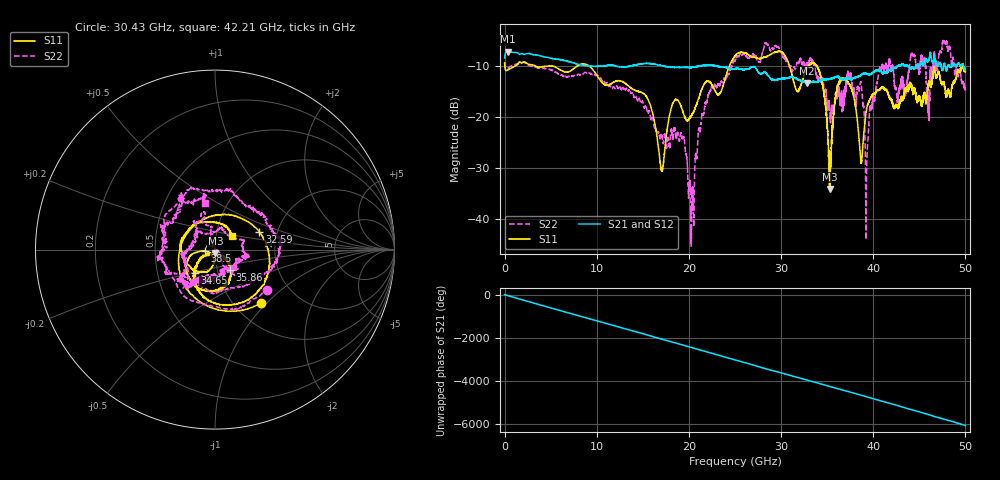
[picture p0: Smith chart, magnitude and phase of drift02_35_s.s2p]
!Created with skrf (http://scikit-rf.org).
# Hz S RI R 50.0
!freq ReS11 ImS11 ReS21 ImS21 ReS12 ImS12 ReS22 ImS22
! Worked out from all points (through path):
!   10001 points, 300 kHz to 50 GHz, reference 50 ohm
!   highest |S21| = -7.31 dB at 325.3 MHz (marker M1); lowest = -13.5 dB at 32.77 GHz (marker M2)
!   group delay of S21, straight-line fit = 335 ps
!   lowest |S11| = -34.1 dB at 35.31 GHz (marker M3), VSWR 1.04, Z = 50.2 - j1.97 ohm
!   |S11| at or under -10 dB: 3.232 GHz to 8.009 GHz (4.777 GHz wide, 85 % of centre); 9.105 GHz to 24.41 GHz (15.31 GHz wide, 91.3 % of centre); 33.83 GHz to 49.67 GHz (15.85 GHz wide, 38 % of centre) (the widest 3 of 9)
!   |S22| runs from -45.3 to -5.1 dB; largest |S21 - S12| = 0.014
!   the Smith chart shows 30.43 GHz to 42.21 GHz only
!   S11 on the Smith chart (normalised r, x): 30.43 GHz: 1.32, -0.93; 32.59 GHz: 1.61, +0.34; 34.65 GHz: 0.77, -0.21; 35.86 GHz: 1.15, -0.27; 38.5 GHz: 0.90, -0.01; 42.21 GHz: 1.19, +0.19
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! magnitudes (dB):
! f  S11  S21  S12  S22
! 300 kHz  -9.4  -8.5  -8.5  -9.5
! 325.3 MHz  -10.9  -7.3  -7.3  -10.6
! 8.335 GHz  -9.7  -9.9  -9.9  -11.6
! 16.67 GHz  -25.7  -9.9  -9.9  -23.1
! 19.31 GHz  -18.8  -10.4  -10.4  -24.4
! 20.36 GHz  -19.5  -10.4  -10.3  -35.6
! 21.94 GHz  -13.1  -10.0  -10.0  -17.3
! 25 GHz  -8.2  -10.6  -10.6  -9.0
! 30.43 GHz  -8.1  -12.5  -12.5  -8.7
! 32.59 GHz  -11.5  -13.2  -13.2  -10.4
! 32.77 GHz  -10.8  -13.5  -13.5  -9.8
! 33.34 GHz  -9.6  -13.2  -13.2  -9.0
! 34.65 GHz  -15.2  -12.8  -12.7  -14.4
! 35.31 GHz  -34.1  -12.6  -12.6  -19.5
! 35.86 GHz  -17.0  -12.3  -12.3  -15.9
! 38.5 GHz  -25.2  -12.1  -12.1  -14.7
! 39.31 GHz  -18.2  -11.6  -11.6  -28.3
! 41.67 GHz  -15.9  -11.0  -11.1  -9.8
! 42.21 GHz  -18.3  -10.4  -10.4  -11.5
! 45.96 GHz  -14.0  -9.1  -9.2  -17.5
! 47.77 GHz  -14.5  -9.8  -9.7  -5.5
! 50 GHz  -11.1  -10.9  -10.8  -14.4
